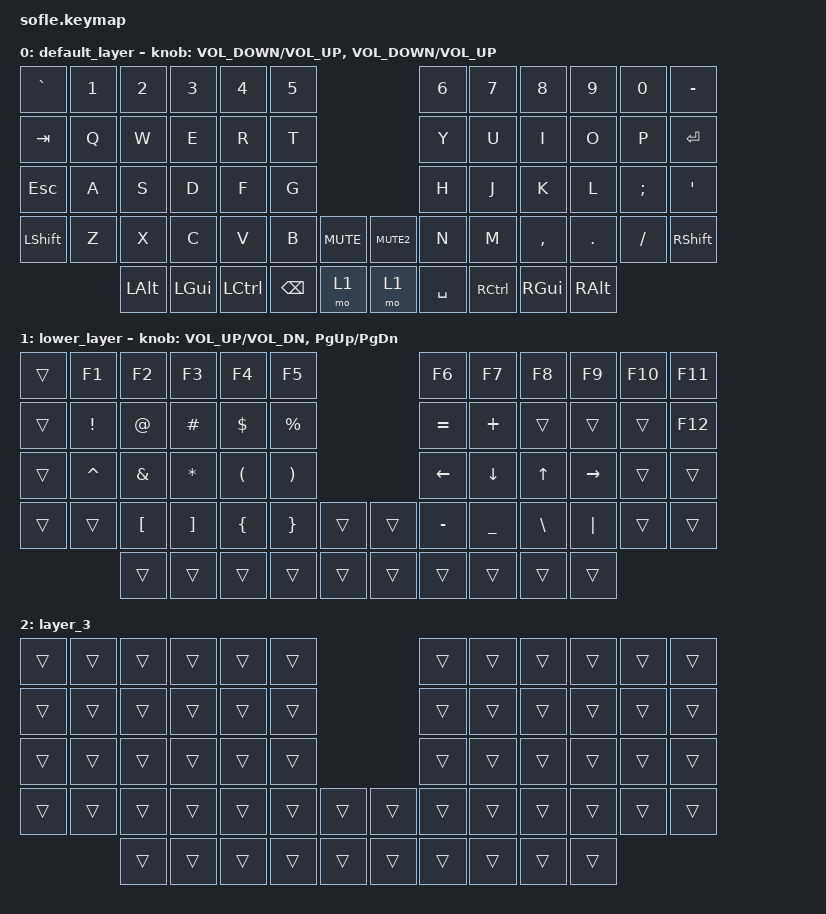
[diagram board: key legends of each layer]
/*
 * Copyright (c) 2020 The ZMK Contributors
 *
 * SPDX-License-Identifier: MIT
 */

#include <behaviors.dtsi>
#include <dt-bindings/zmk/keys.h>

/ {
    keymap {
        compatible = "zmk,keymap";

        default_layer {
            // ------------------------------------------------------------------------------------------------------------
            // |  `    |  1  |  2  |  3   |  4   |  5   |                   |  6   |  7    |  8    |  9   |   0   |       |
            // |  ESC  |  Q  |  W  |  E   |  R   |  T   |                   |  Y   |  U    |  I    |  O   |   P   | BKSPC |
            // |  TAB  |  A  |  S  |  D   |  F   |  G   |                   |  H   |  J    |  K    |  L   |   ;   |   '   |
            // | SHIFT |  Z  |  X  |  C   |  V   |  B   |  MUTE  |  |       |  N   |  M    |  ,    |  .   |   /   | SHIFT |
            //               | GUI | ALT  | CTRL | LOWER|  ENTER |  | SPACE | RAISE| CTRL  | ALT   | GUI  |

            bindings = <
&kp GRAVE  &kp N1  &kp N2        &kp N3        &kp N4     &kp N5                                    &kp N6     &kp N7     &kp N8         &kp N9         &kp N0    &kp MINUS
&kp TAB    &kp Q   &kp W         &kp E         &kp R      &kp T                                     &kp Y      &kp U      &kp I          &kp O          &kp P     &kp ENTER
&kp ESC    &kp A   &kp S         &kp D         &kp F      &kp G                                     &kp H      &kp J      &kp K          &kp L          &kp SEMI  &kp SQT
&kp LSHFT  &kp Z   &kp X         &kp C         &kp V      &kp B          &kp K_MUTE    &kp K_MUTE2  &kp N      &kp M      &kp COMMA      &kp DOT        &kp FSLH  &kp RSHFT
                   &kp LEFT_ALT  &kp LEFT_GUI  &kp LCTRL  &kp BACKSPACE  &mo 1         &mo 1        &kp SPACE  &kp RCTRL  &kp RIGHT_GUI  &kp RIGHT_ALT
            >;

            sensor-bindings =
                <&inc_dec_kp C_VOLUME_DOWN C_VOLUME_UP>,
                <&inc_dec_kp C_VOLUME_DOWN C_VOLUME_UP>;
        };

        lower_layer {
            // TODO: Some binds are waiting for shifted keycode support.
            // ------------------------------------------------------------------------------------------------------------
            // |       |  F1 |  F2 |  F3  |  F4  |  F5  |                   |  F6  |  F7   |  F8   |  F9  |  F10  |  F11  |
            // | `     |   1 |   2 |   3  |   4  |   5  |                   |   6  |   7   |   8   |   9  |    0  |  F12  |
            // |       |  !  |  @  |  #   |  $   |  %   |                   |  ^   |  &    |  *    |  (   |   )   |   |   |
            // |       |  =  |  -  |  +   |  {   |  }   |        |  |       |  [   |  ]    |  ;    |  :   |   \   |       |
            //               |     |      |      |      |        |  |       |      |       |       |      |

            bindings = <
&trans  &kp F1           &kp F2    &kp F3    &kp F4    &kp F5                       &kp F6          &kp F7          &kp F8         &kp F9           &kp F10  &kp F11
&trans  &kp EXCLAMATION  &kp AT    &kp HASH  &kp DLLR  &kp PRCNT                    &kp EQUAL       &kp PLUS        &trans         &trans           &trans   &kp F12
&trans  &kp CARET        &kp AMPS  &kp STAR  &kp LPAR  &kp RPAR                     &kp LEFT_ARROW  &kp DOWN_ARROW  &kp UP_ARROW   &kp RIGHT_ARROW  &trans   &trans
&trans  &trans           &kp LBKT  &kp RBKT  &kp LBRC  &kp RBRC   &trans    &trans  &kp MINUS       &kp UNDER       &kp BACKSLASH  &kp PIPE         &trans   &trans
                         &trans    &trans    &trans    &trans     &trans    &trans  &trans          &trans          &trans         &trans
            >;

            sensor-bindings = <&inc_dec_kp C_VOL_UP C_VOL_DN &inc_dec_kp PG_UP PG_DN>;
        };

        layer_3 {
            bindings = <
&trans  &trans  &trans  &trans  &trans  &trans                    &trans  &trans  &trans  &trans  &trans  &trans
&trans  &trans  &trans  &trans  &trans  &trans                    &trans  &trans  &trans  &trans  &trans  &trans
&trans  &trans  &trans  &trans  &trans  &trans                    &trans  &trans  &trans  &trans  &trans  &trans
&trans  &trans  &trans  &trans  &trans  &trans  &trans    &trans  &trans  &trans  &trans  &trans  &trans  &trans
                &trans  &trans  &trans  &trans  &trans    &trans  &trans  &trans  &trans  &trans
            >;
        };
    };
};
